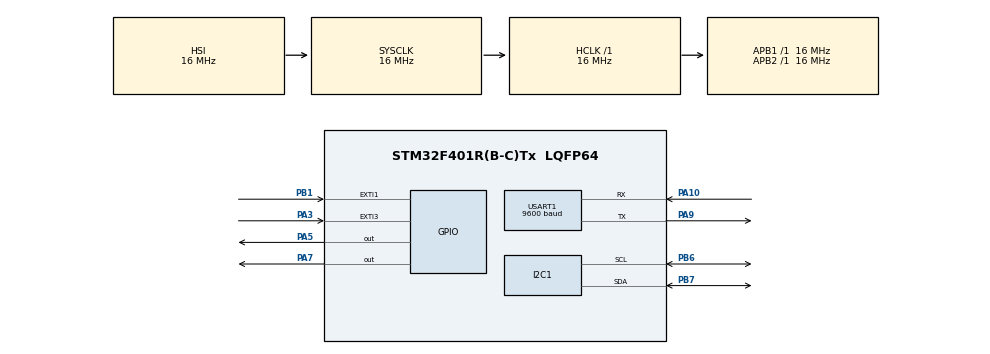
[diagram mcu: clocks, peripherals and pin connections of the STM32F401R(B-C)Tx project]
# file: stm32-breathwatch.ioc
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Mcu.Family=STM32F4
Mcu.Name=STM32F401R(B-C)Tx
Mcu.Package=LQFP64
NVIC.EXTI1_IRQn=true\:0\:0\:false\:false\:true\:true\:true\:true
NVIC.EXTI3_IRQn=true\:0\:0\:false\:false\:true\:true\:true\:true
NVIC.PriorityGroup=NVIC_PRIORITYGROUP_4
NVIC.RTC_WKUP_IRQn=true\:0\:0\:false\:false\:true\:true\:true\:true
PA10.Mode=Asynchronous
PA10.Signal=USART1_RX
PA13.Mode=Serial_Wire
PA13.Signal=SYS_JTMS-SWDIO
PA14.Mode=Serial_Wire
PA14.Signal=SYS_JTCK-SWCLK
PA3.GPIO_ModeDefaultEXTI=GPIO_MODE_IT_FALLING
PA3.GPIO_PuPd=GPIO_PULLUP
PA3.Signal=GPXTI3
PA5.Signal=GPIO_Output
PA7.Signal=GPIO_Output
PA9.Mode=Asynchronous
PA9.Signal=USART1_TX
PB1.GPIO_PuPd=GPIO_PULLDOWN
PB1.Signal=GPXTI1
PB6.Mode=I2C
PB6.Signal=I2C1_SCL
PB7.Mode=I2C
PB7.Signal=I2C1_SDA
ProjectManager.HeapSize=0x200
ProjectManager.StackSize=0x400
ProjectManager.TargetToolchain=CMake
RCC.AHBFreq_Value=16000000
RCC.APB1Freq_Value=16000000
RCC.APB2Freq_Value=16000000
RCC.CortexFreq_Value=16000000
RCC.HSE_VALUE=25000000
RCC.HSI_VALUE=16000000
RCC.LSE_VALUE=32768
RCC.SYSCLKFreq_VALUE=16000000
RCC.VCOOutputFreq_Value=192000000
USART1.BaudRate=9600
USART1.VirtualMode=VM_ASYNC
VP_RTC_VS_RTC_Activate.Mode=RTC_Enabled
VP_RTC_VS_RTC_WakeUp_intern.Mode=WakeUp
board=custom

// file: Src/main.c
/* USER CODE BEGIN Header */
/**
  ******************************************************************************
  * @file           : main.c
  * @brief          : Main program body
  ******************************************************************************
  * @attention
  *
  * Copyright (c) 2026 STMicroelectronics.
  * All rights reserved.
  *
  * This software is licensed under terms that can be found in the LICENSE file
  * in the root directory of this software component.
  * If no LICENSE file comes with this software, it is provided AS-IS.
  *
  ******************************************************************************
  */
/* USER CODE END Header */
#include "main.h"
#include "stm32f4xx_hal_gpio.h"

/* USER CODE BEGIN Includes */
#include <stdint.h>
#include <stdio.h>
#include <string.h>
#include <stdlib.h>

/* USER CODE END Includes */

/* USER CODE BEGIN PTD */
typedef struct {
  float temperature;
  float humidity;
  uint8_t aqi;
  uint16_t tvoc;
  uint16_t eco2;
} SensorData;
/* USER CODE END PTD */

/* USER CODE BEGIN PD */
#define aht21_addr (0x38 << 1)
#define ens160_addr (0x53 << 1)
#define ENS160_OPMODE 0x10
#define ENS160_STATUS 0x20
#define ENS160_AQI 0x21
#define ENS160_TVOC_L 0x22
#define ENS160_ECO2_L 0x24
#define ENS160_TEMP_IN_L 0x13
#define ENS160_RH_IN_L 0x15
#define LOG_SECTOR_ADDR  0x08020000
#define LOG_SECTOR FLASH_SECTOR_5
#define LOG_RECORD_WORDS ((sizeof(SensorData)+3)/4)
#define LOG_RECORD_BYTES (LOG_RECORD_WORDS*4)
#define LOG_SECTOR_END (LOG_SECTOR_ADDR + 0x20000)
#define LOG_SECTOR_SIZE   0x20000        // 128 KB
#define LOG_SECTOR_END    (LOG_SECTOR_ADDR + (LOG_SECTOR_SIZE * 8 / 10))   // 80%

/* USER CODE END PD */

I2C_HandleTypeDef hi2c1;

RTC_HandleTypeDef hrtc;

UART_HandleTypeDef huart1;

/* USER CODE BEGIN PV */
volatile uint8_t dump_request = 0;
volatile uint8_t bt_connected = 0;

/* USER CODE END PV */

void SystemClock_Config(void);
static void MX_GPIO_Init(void);
static void MX_I2C1_Init(void);
static void MX_USART1_UART_Init(void);
static void MX_RTC_Init(void);

/* USER CODE BEGIN 0 */
void flash_log_sample(uint32_t *ptr, SensorData *s)
{
  HAL_FLASH_Unlock();

  uint32_t *p = (uint32_t*)s;

  for (int i = 0; i < (sizeof(SensorData)+3)/4; i++) {
    HAL_FLASH_Program(FLASH_TYPEPROGRAM_WORD, *ptr, p[i]);
    *ptr += 4;
  }

  HAL_FLASH_Lock();
}
void transmit_flash_data(uint32_t start, uint32_t end)
{
    char line[64];

    while(start < end)
    {
        SensorData *s = (SensorData*)start;

        int ti = (int)(s->temperature * 100);
        int hi = (int)(s->humidity * 100);

        int len = snprintf(line,sizeof(line),
            "%d.%02d,%d.%02d,%d,%d,%d\r\n",
            ti/100, abs(ti%100),
            hi/100, abs(hi%100),
            s->aqi, s->tvoc, s->eco2);

        HAL_UART_Transmit(&huart1,(uint8_t*)line,len,HAL_MAX_DELAY);

        start += LOG_RECORD_BYTES;
    }
}
void erase_flash_sector(void)
{
    FLASH_EraseInitTypeDef erase;
    uint32_t err;

    erase.TypeErase = FLASH_TYPEERASE_SECTORS;
    erase.Sector = LOG_SECTOR;
    erase.NbSectors = 1;
    erase.VoltageRange = FLASH_VOLTAGE_RANGE_3;

    HAL_FLASH_Unlock();
    HAL_FLASHEx_Erase(&erase,&err);
    HAL_FLASH_Lock();
}

/* USER CODE END 0 */

int main(void)
{

  /* USER CODE BEGIN 1 */
  uint32_t flash_ptr = LOG_SECTOR_ADDR;
  /* USER CODE END 1 */

  /* MCU Configuration--------------------------------------------------------*/

  /* Reset of all peripherals, Initializes the Flash interface and the Systick. */
  HAL_Init();

  /* Configure the system clock */
  SystemClock_Config();

  /* USER CODE BEGIN SysInit */
  while(flash_ptr < LOG_SECTOR_END &&
      *(uint32_t*)flash_ptr != 0xFFFFFFFF)
  {
    flash_ptr += 4;
  }
  /* USER CODE END SysInit */

  /* Initialize all configured peripherals */
  MX_GPIO_Init();
  MX_I2C1_Init();
  MX_USART1_UART_Init();
  MX_RTC_Init();

  /* Infinite loop */
  /* USER CODE BEGIN WHILE */

  uint8_t opmode[2] = {ENS160_OPMODE, 0x02};
  HAL_I2C_Master_Transmit(&hi2c1, ens160_addr, opmode, 2, 100);
  volatile uint8_t  aqi_g = 0;
  volatile uint16_t tvoc_g = 0;
  volatile uint16_t eco2_g = 0;
  volatile uint8_t  status_dbg = 0;
  HAL_GPIO_WritePin(GPIOA, GPIO_PIN_5, GPIO_PIN_RESET);
  HAL_Delay(1000);

  while (1) {
    if(dump_request) {
      dump_request = 0;
      HAL_GPIO_WritePin(GPIOA, GPIO_PIN_7, GPIO_PIN_SET);
      HAL_Delay(200);
      uint32_t t0 = HAL_GetTick();
      bt_connected = 0;

      // wait up to 45s for BT STATE interrupt
      while(HAL_GetTick() - t0 < 45000)
      {
        if(bt_connected)
          break;
      }
      if(bt_connected)
      {
        transmit_flash_data(LOG_SECTOR_ADDR, flash_ptr);
        HAL_UART_Transmit(&huart1, (uint8_t*)"END\r\n", 5, HAL_MAX_DELAY);
        erase_flash_sector();
        flash_ptr = LOG_SECTOR_ADDR;
        for(int i=0;i<3;i++) {
        HAL_GPIO_TogglePin(GPIOA, GPIO_PIN_5);
        HAL_Delay(200);
        HAL_GPIO_TogglePin(GPIOA, GPIO_PIN_5);
        HAL_Delay(200);
        }
        HAL_GPIO_WritePin(GPIOA, GPIO_PIN_5, GPIO_PIN_RESET);
      }
      HAL_GPIO_WritePin(GPIOA, GPIO_PIN_7, GPIO_PIN_RESET);
      continue;
    }
    uint8_t cmd[3] = {0xAC, 0x33, 0x00};
    HAL_I2C_Master_Transmit(&hi2c1, aht21_addr, cmd, 3, 100);
    HAL_Delay(150);
    uint8_t data[6];
    HAL_I2C_Master_Receive(&hi2c1, aht21_addr, data, 6, 100);
    uint32_t raw_hum = ((uint32_t)data[1] << 12) | ((uint32_t)data[2] << 4) | ((uint32_t)data[3] >> 4);
    uint32_t raw_temp = ((uint32_t)(data[3] & 0x0F) << 16) | ((uint32_t)data[4] << 8) | data[5];
    float hum = (raw_hum * 100.0f) / 1048576.0f;
    float temp = ((raw_temp * 200.0f) / 1048576.0f) - 50.0f;
    HAL_Delay(150);
    uint16_t temp_in = (uint16_t)(temp * 64.0f);
    uint16_t hum_in = (uint16_t)(hum * 512.0f);

    uint8_t temp_ens[3] = {ENS160_TEMP_IN_L, (uint8_t)(temp_in & 0xFF), (uint8_t)(temp_in >> 8)};
    uint8_t hum_ens[3] = {ENS160_RH_IN_L, (uint8_t)(hum_in & 0xFF), (uint8_t)(hum_in >> 8)};
    HAL_I2C_Master_Transmit(&hi2c1, ens160_addr, temp_ens, 3, HAL_MAX_DELAY);
    HAL_I2C_Master_Transmit(&hi2c1, ens160_addr, hum_ens, 3, HAL_MAX_DELAY);

    uint8_t reg = ENS160_STATUS;
    uint8_t status;

    HAL_I2C_Master_Transmit(&hi2c1, ens160_addr, &reg, 1, HAL_MAX_DELAY);
    HAL_I2C_Master_Receive(&hi2c1, ens160_addr, &status, 1, HAL_MAX_DELAY);
    status_dbg = status;
    if (status != 0) {
      volatile uint8_t aqi;
      uint8_t buf[2];

      reg = ENS160_AQI;
      HAL_I2C_Master_Transmit(&hi2c1, ens160_addr, &reg, 1, HAL_MAX_DELAY);
      HAL_I2C_Master_Receive(&hi2c1, ens160_addr, &aqi, 1, HAL_MAX_DELAY);

      reg = ENS160_TVOC_L;
      HAL_I2C_Master_Transmit(&hi2c1, ens160_addr, &reg, 1, HAL_MAX_DELAY);
      HAL_I2C_Master_Receive(&hi2c1, ens160_addr, buf, 2, HAL_MAX_DELAY);
      volatile uint16_t tvoc = (uint16_t)buf[0] | ((uint16_t)(buf[1]) << 8);

      reg = ENS160_ECO2_L;
      HAL_I2C_Master_Transmit(&hi2c1, ens160_addr, &reg, 1, HAL_MAX_DELAY);
      HAL_I2C_Master_Receive(&hi2c1, ens160_addr, buf, 2, HAL_MAX_DELAY);
      volatile uint16_t eco2 = (uint16_t)buf[0] | ((uint16_t)(buf[1]) << 8);
      aqi_g = aqi;
      tvoc_g = tvoc;
      eco2_g = eco2;

      SensorData sample;

      sample.temperature = temp;
      sample.humidity = hum;
      sample.aqi = aqi;
      sample.tvoc = tvoc;
      sample.eco2 = eco2;
      if(flash_ptr + LOG_RECORD_BYTES <= LOG_SECTOR_END){
        flash_log_sample(&flash_ptr, &sample);
        HAL_GPIO_TogglePin(GPIOA, GPIO_PIN_5);
        HAL_Delay(1000);
        HAL_GPIO_TogglePin(GPIOA, GPIO_PIN_5);
      }
      int temp_i = (int)(temp * 100);
      int hum_i = (int)(hum * 100);

      char line[64];

      int len = snprintf(line, sizeof(line),
         "%d.%02d,%d.%02d,%d,%d,%d\r\n",
         temp_i/100, abs(temp_i%100),
         hum_i/100, abs(hum_i%100),
         aqi, tvoc, eco2);

      HAL_GPIO_WritePin(GPIOA, GPIO_PIN_5, GPIO_PIN_RESET);
      HAL_Delay(2000);
      HAL_Delay(10000);

    }
  }
}
    /* USER CODE END WHILE */

void SystemClock_Config(void)
{
  RCC_OscInitTypeDef RCC_OscInitStruct = {0};
  RCC_ClkInitTypeDef RCC_ClkInitStruct = {0};

  /** Configure the main internal regulator output voltage
  */
  __HAL_RCC_PWR_CLK_ENABLE();
  __HAL_PWR_VOLTAGESCALING_CONFIG(PWR_REGULATOR_VOLTAGE_SCALE2);

  /** Initializes the RCC Oscillators according to the specified parameters
  * in the RCC_OscInitTypeDef structure.
  */
  RCC_OscInitStruct.OscillatorType = RCC_OSCILLATORTYPE_HSI|RCC_OSCILLATORTYPE_LSI;
  RCC_OscInitStruct.HSIState = RCC_HSI_ON;
  RCC_OscInitStruct.HSICalibrationValue = RCC_HSICALIBRATION_DEFAULT;
  RCC_OscInitStruct.LSIState = RCC_LSI_ON;
  RCC_OscInitStruct.PLL.PLLState = RCC_PLL_NONE;
  if (HAL_RCC_OscConfig(&RCC_OscInitStruct) != HAL_OK)
  {
    Error_Handler();
  }

  /** Initializes the CPU, AHB and APB buses clocks
  */
  RCC_ClkInitStruct.ClockType = RCC_CLOCKTYPE_HCLK|RCC_CLOCKTYPE_SYSCLK
                              |RCC_CLOCKTYPE_PCLK1|RCC_CLOCKTYPE_PCLK2;
  RCC_ClkInitStruct.SYSCLKSource = RCC_SYSCLKSOURCE_HSI;
  RCC_ClkInitStruct.AHBCLKDivider = RCC_SYSCLK_DIV1;
  RCC_ClkInitStruct.APB1CLKDivider = RCC_HCLK_DIV1;
  RCC_ClkInitStruct.APB2CLKDivider = RCC_HCLK_DIV1;

  if (HAL_RCC_ClockConfig(&RCC_ClkInitStruct, FLASH_LATENCY_0) != HAL_OK)
  {
    Error_Handler();
  }
}

static void MX_I2C1_Init(void)
{

  hi2c1.Instance = I2C1;
  hi2c1.Init.ClockSpeed = 100000;
  hi2c1.Init.DutyCycle = I2C_DUTYCYCLE_2;
  hi2c1.Init.OwnAddress1 = 0;
  hi2c1.Init.AddressingMode = I2C_ADDRESSINGMODE_7BIT;
  hi2c1.Init.DualAddressMode = I2C_DUALADDRESS_DISABLE;
  hi2c1.Init.OwnAddress2 = 0;
  hi2c1.Init.GeneralCallMode = I2C_GENERALCALL_DISABLE;
  hi2c1.Init.NoStretchMode = I2C_NOSTRETCH_DISABLE;
  if (HAL_I2C_Init(&hi2c1) != HAL_OK)
  {
    Error_Handler();
  }

}

static void MX_RTC_Init(void)
{

  RTC_TimeTypeDef sTime = {0};
  RTC_DateTypeDef sDate = {0};

  /** Initialize RTC Only
  */
  hrtc.Instance = RTC;
  hrtc.Init.HourFormat = RTC_HOURFORMAT_24;
  hrtc.Init.AsynchPrediv = 127;
  hrtc.Init.SynchPrediv = 255;
  hrtc.Init.OutPut = RTC_OUTPUT_DISABLE;
  hrtc.Init.OutPutPolarity = RTC_OUTPUT_POLARITY_HIGH;
  hrtc.Init.OutPutType = RTC_OUTPUT_TYPE_OPENDRAIN;
  if (HAL_RTC_Init(&hrtc) != HAL_OK)
  {
    Error_Handler();
  }

  /** Initialize RTC and set the Time and Date
  */
  sTime.Hours = 0x0;
  sTime.Minutes = 0x0;
  sTime.Seconds = 0x0;
  sTime.DayLightSaving = RTC_DAYLIGHTSAVING_NONE;
  sTime.StoreOperation = RTC_STOREOPERATION_RESET;
  if (HAL_RTC_SetTime(&hrtc, &sTime, RTC_FORMAT_BCD) != HAL_OK)
  {
    Error_Handler();
  }
  sDate.WeekDay = RTC_WEEKDAY_MONDAY;
  sDate.Month = RTC_MONTH_JANUARY;
  sDate.Date = 0x1;
  sDate.Year = 0x0;

  if (HAL_RTC_SetDate(&hrtc, &sDate, RTC_FORMAT_BCD) != HAL_OK)
  {
    Error_Handler();
  }

  /** Enable the WakeUp
  */
  if (HAL_RTCEx_SetWakeUpTimer_IT(&hrtc, 0, RTC_WAKEUPCLOCK_RTCCLK_DIV16) != HAL_OK)
  {
    Error_Handler();
  }

}

static void MX_USART1_UART_Init(void)
{

  huart1.Instance = USART1;
  huart1.Init.BaudRate = 9600;
  huart1.Init.WordLength = UART_WORDLENGTH_8B;
  huart1.Init.StopBits = UART_STOPBITS_1;
  huart1.Init.Parity = UART_PARITY_NONE;
  huart1.Init.Mode = UART_MODE_TX_RX;
  huart1.Init.HwFlowCtl = UART_HWCONTROL_NONE;
  huart1.Init.OverSampling = UART_OVERSAMPLING_16;
  if (HAL_UART_Init(&huart1) != HAL_OK)
  {
    Error_Handler();
  }

}

static void MX_GPIO_Init(void)
{
  GPIO_InitTypeDef GPIO_InitStruct = {0};

  /* GPIO Ports Clock Enable */
  __HAL_RCC_GPIOA_CLK_ENABLE();
  __HAL_RCC_GPIOB_CLK_ENABLE();

  /*Configure GPIO pin Output Level */
  HAL_GPIO_WritePin(GPIOA, GPIO_PIN_5|GPIO_PIN_7, GPIO_PIN_RESET);

  /*Configure GPIO pin : PA3 */
  GPIO_InitStruct.Pin = GPIO_PIN_3;
  GPIO_InitStruct.Mode = GPIO_MODE_IT_FALLING;
  GPIO_InitStruct.Pull = GPIO_PULLUP;
  HAL_GPIO_Init(GPIOA, &GPIO_InitStruct);

  /*Configure GPIO pins : PA5 PA7 */
  GPIO_InitStruct.Pin = GPIO_PIN_5|GPIO_PIN_7;
  GPIO_InitStruct.Mode = GPIO_MODE_OUTPUT_PP;
  GPIO_InitStruct.Pull = GPIO_NOPULL;
  GPIO_InitStruct.Speed = GPIO_SPEED_FREQ_LOW;
  HAL_GPIO_Init(GPIOA, &GPIO_InitStruct);

  /*Configure GPIO pin : PB1 */
  GPIO_InitStruct.Pin = GPIO_PIN_1;
  GPIO_InitStruct.Mode = GPIO_MODE_IT_RISING;
  GPIO_InitStruct.Pull = GPIO_PULLDOWN;
  HAL_GPIO_Init(GPIOB, &GPIO_InitStruct);

  /* EXTI interrupt init*/
  HAL_NVIC_SetPriority(EXTI1_IRQn, 0, 0);
  HAL_NVIC_EnableIRQ(EXTI1_IRQn);

  HAL_NVIC_SetPriority(EXTI3_IRQn, 0, 0);
  HAL_NVIC_EnableIRQ(EXTI3_IRQn);

}

/* USER CODE BEGIN 4 */
void HAL_GPIO_EXTI_Callback(uint16_t GPIO_Pin)
{
    if(GPIO_Pin == GPIO_PIN_3)
    {
        dump_request = 1;
        HAL_GPIO_WritePin(GPIOA, GPIO_PIN_5, GPIO_PIN_SET);
    }
    if(GPIO_Pin == GPIO_PIN_1)   // Bluetooth STATE
    {
        bt_connected = 1;
        HAL_GPIO_TogglePin(GPIOA, GPIO_PIN_5);
    }

}

/* USER CODE END 4 */

void Error_Handler(void)
{
  __disable_irq();
  while (1)
  {
  }
}
